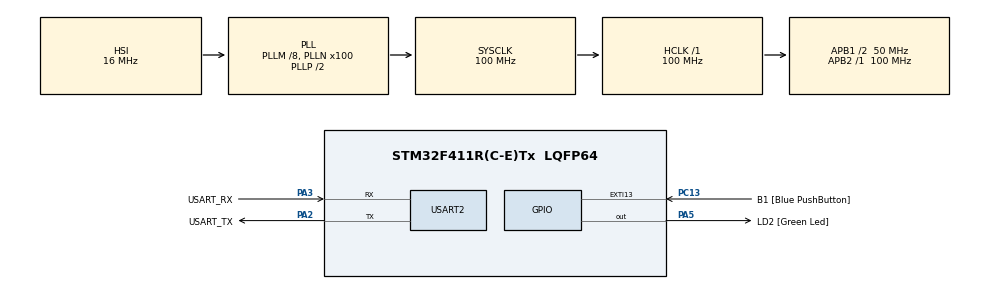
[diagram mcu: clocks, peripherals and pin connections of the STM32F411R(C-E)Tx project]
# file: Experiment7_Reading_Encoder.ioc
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Mcu.Family=STM32F4
Mcu.Name=STM32F411R(C-E)Tx
Mcu.Package=LQFP64
NVIC.PriorityGroup=NVIC_PRIORITYGROUP_0
PA13.GPIO_Label=TMS
PA13.Mode=Serial_Wire
PA13.Signal=SYS_JTMS-SWDIO
PA14.GPIO_Label=TCK
PA14.Mode=Serial_Wire
PA14.Signal=SYS_JTCK-SWCLK
PA2.GPIO_Label=USART_TX
PA2.Mode=Asynchronous
PA2.Signal=USART2_TX
PA3.GPIO_Label=USART_RX
PA3.Mode=Asynchronous
PA3.Signal=USART2_RX
PA5.GPIO_Label=LD2 [Green Led]
PA5.Signal=GPIO_Output
PB3.GPIO_Label=SWO
PB3.Signal=SYS_JTDO-SWO
PC13-ANTI_TAMP.GPIO_Label=B1 [Blue PushButton]
PC13-ANTI_TAMP.GPIO_ModeDefaultEXTI=GPIO_MODE_IT_FALLING
PC13-ANTI_TAMP.Signal=GPXTI13
PC14-OSC32_IN.Mode=LSE-External-Oscillator
PC14-OSC32_IN.Signal=RCC_OSC32_IN
PC15-OSC32_OUT.Mode=LSE-External-Oscillator
PC15-OSC32_OUT.Signal=RCC_OSC32_OUT
PH0\ -\ OSC_IN.Mode=HSE-External-Clock-Source
PH0\ -\ OSC_IN.Signal=RCC_OSC_IN
PH1\ -\ OSC_OUT.Mode=HSE-External-Clock-Source
PH1\ -\ OSC_OUT.Signal=RCC_OSC_OUT
ProjectManager.HeapSize=0x200
ProjectManager.StackSize=0x400
ProjectManager.TargetToolchain=STM32CubeIDE
RCC.48MHZClocksFreq_Value=50000000
RCC.AHBFreq_Value=100000000
RCC.APB1CLKDivider=RCC_HCLK_DIV2
RCC.APB1Freq_Value=50000000
RCC.APB1TimFreq_Value=100000000
RCC.APB2Freq_Value=100000000
RCC.APB2TimFreq_Value=100000000
RCC.CortexFreq_Value=100000000
RCC.FLatency-AdvancedSettings=FLASH_LATENCY_3
RCC.HCLKFreq_Value=100000000
RCC.HSE_VALUE=8000000
RCC.HSI_VALUE=16000000
RCC.PLLM=8
RCC.PLLN=100
RCC.SYSCLKFreq_VALUE=100000000
RCC.SYSCLKSource=RCC_SYSCLKSOURCE_PLLCLK
RCC.VCOOutputFreq_Value=200000000
USART2.VirtualMode=VM_ASYNC
board=NUCLEO-F411RE

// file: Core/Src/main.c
/* USER CODE BEGIN Header */
/**
  ******************************************************************************
  * @file           : main.c
  * @brief          : Main program body
  ******************************************************************************
  * @attention
  *
  * Copyright (c) 2022 STMicroelectronics.
  * All rights reserved.
  *
  * This software is licensed under terms that can be found in the LICENSE file
  * in the root directory of this software component.
  * If no LICENSE file comes with this software, it is provided AS-IS.
  *
  ******************************************************************************
  */
/* USER CODE END Header */
#include "main.h"

UART_HandleTypeDef huart2;

void SystemClock_Config(void);
static void MX_GPIO_Init(void);
static void MX_USART2_UART_Init(void);
/* USER CODE BEGIN PFP */

void OutputVoltage();
void UpdatePosition();

/* USER CODE END PFP */

int main(void)
{

  /* MCU Configuration--------------------------------------------------------*/

  /* Reset of all peripherals, Initializes the Flash interface and the Systick. */
  HAL_Init();

  /* Configure the system clock */
  SystemClock_Config();

  /* Initialize all configured peripherals */
  MX_GPIO_Init();
  MX_USART2_UART_Init();

  /* Infinite loop */
  while (1)
  {

  }
}

void SystemClock_Config(void)
{
  RCC_OscInitTypeDef RCC_OscInitStruct = {0};
  RCC_ClkInitTypeDef RCC_ClkInitStruct = {0};

  /** Configure the main internal regulator output voltage
  */
  __HAL_RCC_PWR_CLK_ENABLE();
  __HAL_PWR_VOLTAGESCALING_CONFIG(PWR_REGULATOR_VOLTAGE_SCALE1);
  /** Initializes the RCC Oscillators according to the specified parameters
  * in the RCC_OscInitTypeDef structure.
  */
  RCC_OscInitStruct.OscillatorType = RCC_OSCILLATORTYPE_HSI;
  RCC_OscInitStruct.HSIState = RCC_HSI_ON;
  RCC_OscInitStruct.HSICalibrationValue = RCC_HSICALIBRATION_DEFAULT;
  RCC_OscInitStruct.PLL.PLLState = RCC_PLL_ON;
  RCC_OscInitStruct.PLL.PLLSource = RCC_PLLSOURCE_HSI;
  RCC_OscInitStruct.PLL.PLLM = 8;
  RCC_OscInitStruct.PLL.PLLN = 100;
  RCC_OscInitStruct.PLL.PLLP = RCC_PLLP_DIV2;
  RCC_OscInitStruct.PLL.PLLQ = 4;
  if (HAL_RCC_OscConfig(&RCC_OscInitStruct) != HAL_OK)
  {
    Error_Handler();
  }
  /** Initializes the CPU, AHB and APB buses clocks
  */
  RCC_ClkInitStruct.ClockType = RCC_CLOCKTYPE_HCLK|RCC_CLOCKTYPE_SYSCLK
                              |RCC_CLOCKTYPE_PCLK1|RCC_CLOCKTYPE_PCLK2;
  RCC_ClkInitStruct.SYSCLKSource = RCC_SYSCLKSOURCE_PLLCLK;
  RCC_ClkInitStruct.AHBCLKDivider = RCC_SYSCLK_DIV1;
  RCC_ClkInitStruct.APB1CLKDivider = RCC_HCLK_DIV2;
  RCC_ClkInitStruct.APB2CLKDivider = RCC_HCLK_DIV1;

  if (HAL_RCC_ClockConfig(&RCC_ClkInitStruct, FLASH_LATENCY_3) != HAL_OK)
  {
    Error_Handler();
  }
}

static void MX_USART2_UART_Init(void)
{

  huart2.Instance = USART2;
  huart2.Init.BaudRate = 115200;
  huart2.Init.WordLength = UART_WORDLENGTH_8B;
  huart2.Init.StopBits = UART_STOPBITS_1;
  huart2.Init.Parity = UART_PARITY_NONE;
  huart2.Init.Mode = UART_MODE_TX_RX;
  huart2.Init.HwFlowCtl = UART_HWCONTROL_NONE;
  huart2.Init.OverSampling = UART_OVERSAMPLING_16;
  if (HAL_UART_Init(&huart2) != HAL_OK)
  {
    Error_Handler();
  }

}

static void MX_GPIO_Init(void)
{
  GPIO_InitTypeDef GPIO_InitStruct = {0};

  /* GPIO Ports Clock Enable */
  __HAL_RCC_GPIOC_CLK_ENABLE();
  __HAL_RCC_GPIOH_CLK_ENABLE();
  __HAL_RCC_GPIOA_CLK_ENABLE();
  __HAL_RCC_GPIOB_CLK_ENABLE();

  /*Configure GPIO pin Output Level */
  HAL_GPIO_WritePin(LD2_GPIO_Port, LD2_Pin, GPIO_PIN_RESET);

  /*Configure GPIO pin : B1_Pin */
  GPIO_InitStruct.Pin = B1_Pin;
  GPIO_InitStruct.Mode = GPIO_MODE_IT_FALLING;
  GPIO_InitStruct.Pull = GPIO_NOPULL;
  HAL_GPIO_Init(B1_GPIO_Port, &GPIO_InitStruct);

  /*Configure GPIO pin : LD2_Pin */
  GPIO_InitStruct.Pin = LD2_Pin;
  GPIO_InitStruct.Mode = GPIO_MODE_OUTPUT_PP;
  GPIO_InitStruct.Pull = GPIO_NOPULL;
  GPIO_InitStruct.Speed = GPIO_SPEED_FREQ_LOW;
  HAL_GPIO_Init(LD2_GPIO_Port, &GPIO_InitStruct);

}

/* USER CODE BEGIN 4 */

void OutputVoltage(){
	// voltage = (x/10000) * 5.36

	if(error > 0){
		pulse = 10000 * (voltage + 0.2) / 5.36;
		__HAL_TIM_SET_COMPARE(&htim3, TIM_CHANNEL_1, pulse); // CCW
		__HAL_TIM_SET_COMPARE(&htim3, TIM_CHANNEL_2, 0); //CW
	}
	else if(error < 0){
		pulse = 10000 * (-(voltage + 0.2)) / 5.36;
		__HAL_TIM_SET_COMPARE(&htim3, TIM_CHANNEL_1, 0); // CCW
		__HAL_TIM_SET_COMPARE(&htim3, TIM_CHANNEL_2, pulse); // CW
	}
	else
	{
		__HAL_TIM_SET_COMPARE(&htim3, TIM_CHANNEL_1, 0); // CCW
		__HAL_TIM_SET_COMPARE(&htim3, TIM_CHANNEL_2, 0); // CW
	}

}

void UpdatePosition(){
	if(micros()-TimestampCalcualtionLoop >= 1000 )
	{
		uint16_t RawRead = TIM1 -> CNT;
		DegRel = (RawRead/3072.0)*360.0;	// degree
		DegAbs = ((RawRead % 3072)/3072.0)*360.0;
		RadRel = (RawRead/3072.0)*(2*M_PI);	// radiant
		RadAbs = ((RawRead % 3072)/3072.0)*(2*M_PI);
		if(HAL_GetTick() - timestamp[1] >= 1000){
			timestamp[1] = HAL_GetTick();
			Position_Rad[1] = RadRel;
			delta_time = timestamp[1] - timestamp[0];
			delta_position = Postion_Rad[1] - Position_Rad[0];
			Velo_Rad = delta_position/(delta_time/1000.0);
			b = 0;
		}
		else if (HAL_GetTick() - timestamp[1] >= 500){
			if (b == 0){
				timestamp[0] = HAL_GetTick();
				Position_Rad[0] = RadRel;
				b = 1;

			}
		}
	}
	error = theta_desired - RadAbs;
	voltage = (Kp*error);

}

/* USER CODE END 4 */

void Error_Handler(void)
{
  __disable_irq();
  while (1)
  {
  }
}
